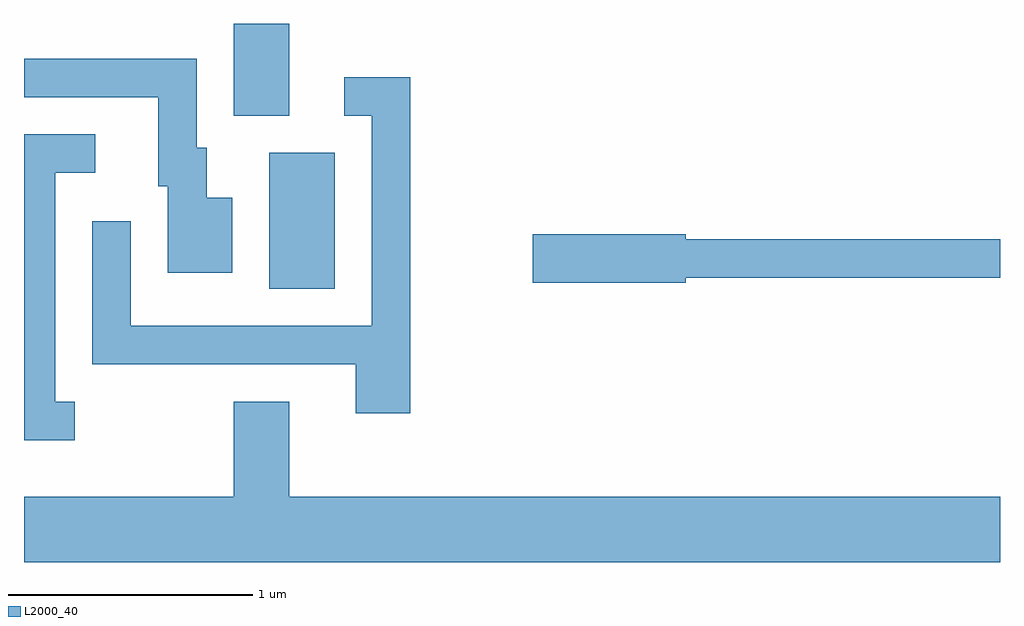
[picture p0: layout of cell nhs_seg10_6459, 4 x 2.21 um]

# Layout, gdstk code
import gdstk
lib = gdstk.Library(unit=1e-6, precision=1e-09)
def R(c, l, rs):  # rectangles x0, y0, x1, y1
    for r in rs: c.add(gdstk.rectangle(r[:2], r[2:], *l))
def P(c, l, *ps):  # polygons
    for p in ps: c.add(gdstk.Polygon(p, *l))
L2000_40 = (2000, 40)

nhs_seg10_6459 = lib.new_cell('nhs_seg10_6459')
R(nhs_seg10_6459, L2000_40, [(376.616,2159.436,376.884,2159.994), (376.471,2160.146,376.699,2160.522)])
P(nhs_seg10_6459, L2000_40, [(376.464,2159.809),(376.359,2159.809),(376.359,2160.014),(376.319,2160.014),(376.319,2160.379),(375.611,2160.379),(375.611,2160.221),(376.161,2160.221),(376.161,2159.856),(376.201,2159.856),(376.201,2159.501),(376.464,2159.501)],
  [(377.194,2160.304),(376.923,2160.304),(376.923,2160.146),(377.036,2160.146),(377.036,2159.284),(376.049,2159.284),(376.049,2159.713),(375.891,2159.713),(375.891,2159.126),(376.971,2159.126),(376.971,2158.926),(377.194,2158.926)],
  [(375.818,2158.974),(375.739,2158.974),(375.739,2159.911),(375.903,2159.911),(375.903,2160.069),(375.611,2160.069),(375.611,2158.816),(375.818,2158.816)],
  [(378.324,2159.481),(379.611,2159.481),(379.611,2159.639),(378.324,2159.639),(378.324,2159.659),(377.696,2159.659),(377.696,2159.461),(378.324,2159.461)],
  [(379.611,2158.584),(376.699,2158.584),(376.699,2158.974),(376.471,2158.974),(376.471,2158.584),(375.611,2158.584),(375.611,2158.316),(379.611,2158.316)])

lib.write_gds('nhs_seg10_6459.gds')
